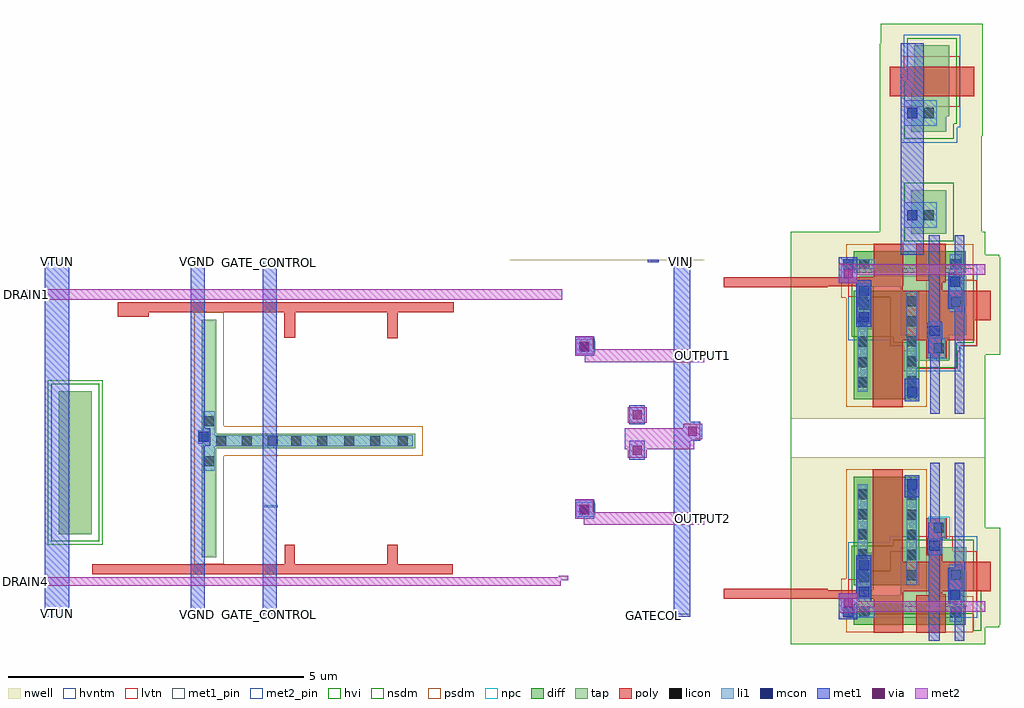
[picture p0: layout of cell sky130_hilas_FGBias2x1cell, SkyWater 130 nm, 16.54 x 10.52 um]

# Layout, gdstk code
import gdstk
lib = gdstk.Library(unit=1e-6, precision=1e-09)
def R(c, l, rs):  # rectangles x0, y0, x1, y1
    for r in rs: c.add(gdstk.rectangle(r[:2], r[2:], *l))
def A(c, l, x, y, w, h, nx, ny, dx, dy):  # array of equal rectangles
    R(c, l, [(x+i*dx, y+j*dy, x+i*dx+w, y+j*dy+h) for i in range(nx) for j in range(ny)])
nwell = (64, 20)
diff = (65, 20)
tap = (65, 44)
poly = (66, 20)
licon = (66, 44)
li1 = (67, 20)
mcon = (67, 44)
met1_pin = (68, 16)
met1 = (68, 20)
via = (68, 44)
met2_pin = (69, 16)
met2 = (69, 20)
hvi = (75, 20)
nsdm = (93, 44)
psdm = (94, 20)
npc = (95, 20)
hvntm = (125, 20)
lvtn = (125, 44)

sky130_hilas_li2m1 = lib.new_cell('sky130_hilas_li2m1')
R(sky130_hilas_li2m1, li1, [(0.02,0.03,0.21,0.26)])
R(sky130_hilas_li2m1, mcon, [(0.03,0.06,0.2,0.23)])
R(sky130_hilas_li2m1, met1, [(0,0,0.23,0.29)])

sky130_hilas_m12m2 = lib.new_cell('sky130_hilas_m12m2')
R(sky130_hilas_m12m2, met1, [(0.03,0,0.29,0.32)])
R(sky130_hilas_m12m2, via, [(0.085,0.085,0.235,0.235)])
R(sky130_hilas_m12m2, met2, [(0,0.03,0.32,0.29)])

sky130_hilas_li2m2 = lib.new_cell('sky130_hilas_li2m2')
R(sky130_hilas_li2m2, li1, [(0.01,0.03,0.33,0.06), (0.01,0.06,0.34,0.25), (0.01,0.25,0.33,0.29)])
R(sky130_hilas_li2m2, mcon, [(0.07,0.07,0.24,0.24)])
R(sky130_hilas_li2m2, met1, [(0,0,0.32,0.32)])
R(sky130_hilas_li2m2, via, [(0.085,0.085,0.235,0.235)])
R(sky130_hilas_li2m2, met2, [(0,0,0.31,0.33)])

sky130_hilas_horiztransc = lib.new_cell('sky130_hilas_horizTransCell01')
R(sky130_hilas_horiztransc, nwell, [(1.13,0,4.43,3.17)])
R(sky130_hilas_horiztransc, diff, [(2.2,0.33,4.1,0.69), (2.2,1,3.31,2.84)])
R(sky130_hilas_horiztransc, tap, [(3.76,0.97,4.1,1.41)])
R(sky130_hilas_horiztransc, poly, [(2.54,0.2,3.04,0.77), (3.26,0.2,3.76,0.83), (0,0.77,3.04,0.91), (3.47,0.83,3.76,0.85), (3.47,0.85,3.7,1.51), (0,0.91,3.03,0.92), (0,0.92,1.76,0.94), (2.52,0.92,3.03,2.97), (3.43,1.51,3.7,1.8), (3.43,1.8,3.78,2.14)])
A(sky130_hilas_horiztransc, licon, 3.1, 1.09, 0.17, 0.17, 1, 5, 0, 0.34)
A(sky130_hilas_horiztransc, licon, 2.27, 1.1, 0.17, 0.17, 1, 5, 0, 0.34)
R(sky130_hilas_horiztransc, licon, [(2.295,0.46,2.465,0.63), (3.845,0.46,4.015,0.63), (3.845,1.095,4.015,1.265), (3.56,1.89,3.73,2.06)])
R(sky130_hilas_horiztransc, li1, [(3.83,0.38,4.03,0.73), (2.02,0.46,2.55,0.63), (3.83,0.73,4.04,0.76), (3.82,0.76,4.04,1.34), (3.1,1.01,3.27,2.62), (2.27,1.02,2.44,2.71), (3.83,1.34,4.04,1.35), (3.47,1.51,3.66,1.52), (3.47,1.52,3.67,1.81), (3.46,1.81,3.75,2.14), (3.1,2.62,3.28,2.81)])
R(sky130_hilas_horiztransc, mcon, [(2.025,0.46,2.195,0.63), (3.84,0.76,4.01,0.93), (3.485,1.59,3.655,1.76), (3.105,2.63,3.275,2.8)])
R(sky130_hilas_horiztransc, met1, [(3.47,0.06,3.66,1.51), (3.91,0.06,4.07,0.7), (1.95,0.43,2.26,0.87), (3.8,0.7,4.07,1.25), (3.8,1.25,4.08,1.3), (3.91,1.3,4.08,1.39), (3.91,1.39,4.07,3.08), (3.47,1.51,3.69,1.54), (3.45,1.54,3.7,1.81), (3.46,1.81,3.7,1.82), (3.46,1.82,3.69,2.06), (3.5,2.06,3.66,3.08), (3.07,2.49,3.31,2.87)])
R(sky130_hilas_horiztransc, via, [(2.035,0.635,2.185,0.785)])
R(sky130_hilas_horiztransc, met2, [(1.95,0.54,2.26,0.55), (1.95,0.55,4.43,0.73), (1.95,0.73,2.26,0.87)])
R(sky130_hilas_horiztransc, hvi, [(1.13,0,4.43,3.17)])
R(sky130_hilas_horiztransc, nsdm, [(3.635,0.845,4.225,1.535)])
R(sky130_hilas_horiztransc, psdm, [(2.075,0.205,4.225,0.815), (2.075,0.815,3.435,2.965)])
R(sky130_hilas_horiztransc, npc, [(3.46,1.79,3.83,2.16)])

sky130_hilas_fgvaractorc = lib.new_cell('sky130_hilas_FGVaractorCapacitor02')
R(sky130_hilas_fgvaractorc, nwell, [(0,0,2.72,1.65), (0,1.65,2.71,1.69)])
R(sky130_hilas_fgvaractorc, tap, [(1.04,0.33,2.15,1.15), (0.33,0.43,0.55,1.15), (0.33,1.15,2.15,1.34)])
R(sky130_hilas_fgvaractorc, poly, [(0.64,0.58,2.56,1.08)])
R(sky130_hilas_fgvaractorc, licon, [(0.335,0.76,0.505,0.93)])
R(sky130_hilas_fgvaractorc, li1, [(0.3,0.52,0.53,1.21)])
R(sky130_hilas_fgvaractorc, mcon, [(0.33,0.55,0.5,0.72), (0.33,1,0.5,1.17)])
R(sky130_hilas_fgvaractorc, met1, [(0.28,0.47,0.54,1.26)])
R(sky130_hilas_fgvaractorc, hvi, [(0,0,2.72,1.65), (0,1.65,2.71,1.69)])
R(sky130_hilas_fgvaractorc, nsdm, [(0.915,0.205,2.275,0.305), (0.205,0.305,2.275,1.465)])
R(sky130_hilas_fgvaractorc, hvntm, [(0.855,0.145,2.335,0.245), (0.145,0.245,2.335,1.525)])
R(sky130_hilas_fgvaractorc, lvtn, [(0.86,0.4,2.33,1.26)])

sky130_hilas_wellcontact = lib.new_cell('sky130_hilas_wellContact')
R(sky130_hilas_wellcontact, nwell, [(0,0.01,1.73,1.85)])
R(sky130_hilas_wellcontact, tap, [(0.54,0.36,1.13,1.1)])
R(sky130_hilas_wellcontact, licon, [(0.745,0.59,0.915,0.76)])
R(sky130_hilas_wellcontact, li1, [(0.42,0.46,0.97,0.89)])
R(sky130_hilas_wellcontact, mcon, [(0.47,0.59,0.64,0.76)])
R(sky130_hilas_wellcontact, met1, [(0.36,0,0.75,1.86)])
R(sky130_hilas_wellcontact, hvi, [(0,0.01,1.73,1.85)])
R(sky130_hilas_wellcontact, nsdm, [(0.415,0.235,1.255,1.225)])

sky130_hilas_tuncap01 = lib.new_cell('sky130_hilas_TunCap01')
R(sky130_hilas_tuncap01, nwell, [(0,0,1.73,1.9)])
R(sky130_hilas_tuncap01, tap, [(0.57,0.33,1.16,1.53)])
R(sky130_hilas_tuncap01, poly, [(0.15,0.67,1.58,1.17)])
R(sky130_hilas_tuncap01, hvi, [(0,0,1.73,1.9)])
R(sky130_hilas_tuncap01, nsdm, [(0.445,0.205,1.285,1.655)])
R(sky130_hilas_tuncap01, hvntm, [(0.385,0.145,1.345,1.715)])
R(sky130_hilas_tuncap01, lvtn, [(0.39,0.49,1.34,1.35)])

sky130_hilas_fgbias2x1ce = lib.new_cell('sky130_hilas_FGBias2x1cell')
R(sky130_hilas_fgbias2x1ce, nwell, [(0.59,1.87,1.15,4.29), (10.57,6.48,10.76,6.51), (8.23,6.51,11.53,6.52)])
R(sky130_hilas_fgbias2x1ce, tap, [(3.01,1.48,3.26,3.32), (0.59,1.87,1.15,4.29), (3.01,3.32,6.63,3.57), (3.01,3.57,3.26,5.5)])
R(sky130_hilas_fgbias2x1ce, poly, [(1.16,1.19,7.27,1.36), (4.42,1.36,4.59,1.69), (6.16,1.36,6.33,1.69), (6.16,5.19,6.33,5.63), (4.41,5.2,4.6,5.63), (1.59,5.55,2.11,5.63), (1.59,5.63,7.28,5.8)])
R(sky130_hilas_fgbias2x1ce, licon, [(3.05,3.02,3.22,3.19), (3.26,3.36,3.43,3.53), (3.69,3.36,3.86,3.53), (4.13,3.36,4.3,3.53), (4.53,3.36,4.7,3.53), (4.97,3.36,5.14,3.53), (5.87,3.36,6.04,3.53), (6.33,3.36,6.5,3.53), (5.43,3.37,5.6,3.54), (3.05,3.7,3.22,3.87)])
R(sky130_hilas_fgbias2x1ce, li1, [(4.07,2.32,4.3,2.36), (3.04,2.94,3.23,3.36), (3.04,3.36,6.59,3.54), (3.04,3.54,3.23,3.95)])
R(sky130_hilas_fgbias2x1ce, met1_pin, [(0.35,0.47,0.77,0.59), (2.83,0.47,3.06,0.53), (4.05,0.47,4.28,0.53), (10.57,0.47,10.76,0.52), (11.01,0.47,11.29,0.52), (4.05,6.44,4.28,6.52), (0.35,6.45,0.77,6.52), (2.83,6.45,3.06,6.52), (11.01,6.45,11.29,6.52), (10.57,6.48,10.76,6.52)])
R(sky130_hilas_fgbias2x1ce, met1, [(0.35,0.47,0.77,6.52), (2.83,0.47,3.06,6.52), (4.05,0.47,4.28,6.52), (10.57,0.47,10.76,0.52), (11.01,0.47,11.29,6.52), (10.57,6.48,10.76,6.52)])
R(sky130_hilas_fgbias2x1ce, met2_pin, [(0,0.99,0.06,1.14), (11.46,2.03,11.53,2.24), (11.45,4.78,11.53,5), (0,5.84,0.07,6.02)])
R(sky130_hilas_fgbias2x1ce, met2, [(0,0.99,9.1,1.09), (0,1.09,9.22,1.14), (9.06,1.14,9.22,1.16), (9.49,2.03,11.53,2.24), (10.18,3.31,11.36,3.66), (9.5,4.78,11.53,5), (0,5.84,9.12,6.02)])
R(sky130_hilas_fgbias2x1ce, hvi, [(0.405,1.685,1.335,4.475), (12.99,3.17,16.29,3.82)])
R(sky130_hilas_fgbias2x1ce, nsdm, [(16.085,0.235,16.22,0.515), (16.095,0.515,16.22,0.92), (0.465,1.745,1.275,4.415)])
R(sky130_hilas_fgbias2x1ce, psdm, [(13.85,0.575,13.935,1.115), (2.885,1.355,3.385,3.195), (2.885,3.195,6.755,3.695), (2.885,3.695,3.385,5.625), (13.85,5.875,13.935,6.415)])
R(sky130_hilas_fgbias2x1ce, hvntm, [(14.855,8.505,15.815,8.765), (14.855,8.765,14.905,9.615)])
R(sky130_hilas_fgbias2x1ce, lvtn, [(14.22,0.51,15.8,0.59), (13.97,0.59,15.8,0.72), (13.97,0.72,14.68,1.1), (14.25,1.1,14.68,1.245), (15.11,1.58,15.74,1.83), (15.11,4.67,15.82,4.97), (14.68,5.06,14.91,5.31), (15.86,5.06,16.15,5.31), (14.2,5.88,14.68,5.89), (13.97,5.89,14.68,6.17), (13.97,6.17,15.8,6.4), (14.22,6.4,15.8,6.43), (14.86,9.11,14.91,9.61)])
sky130_hilas_fgbias2x1ce.add(gdstk.Reference(sky130_hilas_li2m1, (2.93,3.37)))
sky130_hilas_fgbias2x1ce.add(gdstk.Reference(sky130_hilas_m12m2, (11.17,3.45)))
sky130_hilas_fgbias2x1ce.add(gdstk.Reference(sky130_hilas_m12m2, (10.23,3.13)))
sky130_hilas_fgbias2x1ce.add(gdstk.Reference(sky130_hilas_li2m2, (9.34,2.13)))
sky130_hilas_fgbias2x1ce.add(gdstk.Reference(sky130_hilas_horiztransc, (11.86,0)))
sky130_hilas_fgbias2x1ce.add(gdstk.Reference(sky130_hilas_fgvaractorc, (13.82,1.98), x_reflection=True))
sky130_hilas_fgbias2x1ce.add(gdstk.Reference(sky130_hilas_m12m2, (10.23,3.73)))
sky130_hilas_fgbias2x1ce.add(gdstk.Reference(sky130_hilas_li2m2, (9.34,4.89)))
sky130_hilas_fgbias2x1ce.add(gdstk.Reference(sky130_hilas_horiztransc, (11.86,6.99), x_reflection=True))
sky130_hilas_fgbias2x1ce.add(gdstk.Reference(sky130_hilas_fgvaractorc, (13.82,4.91)))
sky130_hilas_fgbias2x1ce.add(gdstk.Reference(sky130_hilas_wellcontact, (14.5,6.6)))
sky130_hilas_fgbias2x1ce.add(gdstk.Reference(sky130_hilas_tuncap01, (14.52,4.48)))
sky130_hilas_fgbias2x1ce.add(gdstk.Reference(sky130_hilas_wellcontact, (14.5,8.33)))
sky130_hilas_fgbias2x1ce.add(gdstk.Reference(sky130_hilas_tuncap01, (14.52,8.62)))
sky130_hilas_fgbias2x1ce.add(gdstk.Label('VTUN', (0.56,6.485), layer=68, texttype=16))
sky130_hilas_fgbias2x1ce.add(gdstk.Label('VTUN', (0.56,0.53), layer=68, texttype=16))
sky130_hilas_fgbias2x1ce.add(gdstk.Label('VGND', (2.945,6.485), layer=68, texttype=16))
sky130_hilas_fgbias2x1ce.add(gdstk.Label('VGND', (2.945,0.5), layer=68, texttype=16))
sky130_hilas_fgbias2x1ce.add(gdstk.Label('GATE_CONTROL', (4.165,6.48), layer=68, texttype=16))
sky130_hilas_fgbias2x1ce.add(gdstk.Label('GATE_CONTROL', (4.165,0.5), layer=68, texttype=16))
sky130_hilas_fgbias2x1ce.add(gdstk.Label('DRAIN1', (0.035,5.93), layer=69, texttype=16))
sky130_hilas_fgbias2x1ce.add(gdstk.Label('DRAIN4', (0.03,1.065), layer=69, texttype=16))
sky130_hilas_fgbias2x1ce.add(gdstk.Label('VINJ', (11.15,6.485), layer=68, texttype=16))
sky130_hilas_fgbias2x1ce.add(gdstk.Label('OUTPUT1', (11.49,4.89), layer=69, texttype=16))
sky130_hilas_fgbias2x1ce.add(gdstk.Label('OUTPUT2', (11.495,2.135), layer=69, texttype=16))
sky130_hilas_fgbias2x1ce.add(gdstk.Label('GATECOL', (10.665,6.5), layer=68, texttype=16))
sky130_hilas_fgbias2x1ce.add(gdstk.Label('GATECOL', (10.665,0.495), layer=68, texttype=16))
sky130_hilas_fgbias2x1ce.add(gdstk.Label('VINJ', (11.15,0.495), layer=68, texttype=16))

lib.write_gds('sky130_hilas_FGBias2x1cell.gds')
